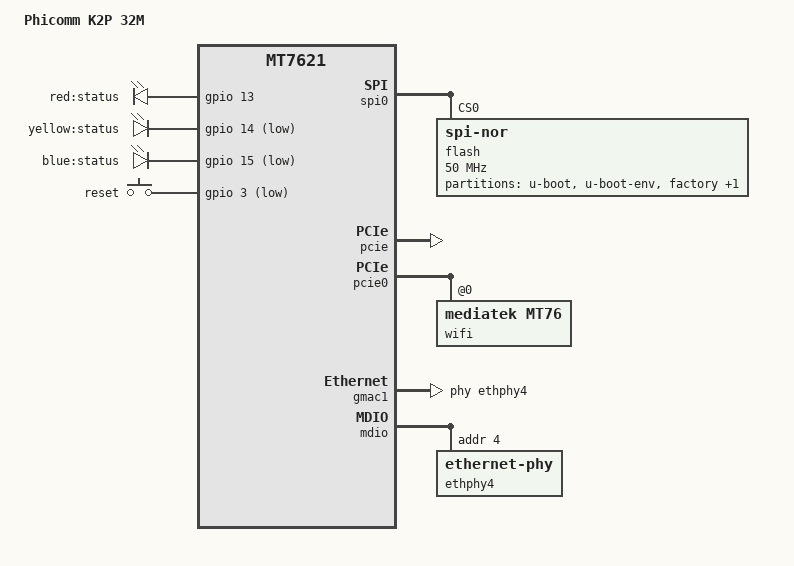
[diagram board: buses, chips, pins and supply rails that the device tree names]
#include "mt7621.dtsi"

#include <dt-bindings/gpio/gpio.h>
#include <dt-bindings/input/input.h>

/*
 * Phicomm K2P — 32MB SPI-NOR variant
 *
 * 派生自 immortalwrt openwrt-23.05 的 target/linux/ramips/dts/mt7621_phicomm_k2p.dts，
 * 仅调整固件分区（其余硬件定义完全一致）：
 *   - 删掉原厂的 permanent_config（0x50000-0xa0000），固件分区前移到 0x50000，
 *     与 Breed / 常见 MT7621 布局一致（firmware 紧跟 factory 之后）；
 *   - 固件分区扩展到整片 32MB 的剩余空间。
 *
 *   0x000000 - 0x030000  u-boot      (read-only)
 *   0x030000 - 0x040000  u-boot-env  (read-only)
 *   0x040000 - 0x050000  factory     (read-only)
 *   0x050000 - 0x2000000 firmware    (0x1fb0000 = 32448 KiB)
 */
/ {
	compatible = "phicomm,k2p-32m", "mediatek,mt7621-soc";
	model = "Phicomm K2P 32M";

	aliases {
		led-boot = &led_blue;
		led-failsafe = &led_blue;
		led-running = &led_blue;
		led-upgrade = &led_blue;
	};

	leds {
		compatible = "gpio-leds";

		stat_r {
			label = "red:status";
			gpios = <&gpio 13 GPIO_ACTIVE_HIGH>;
		};

		stat_y {
			label = "yellow:status";
			gpios = <&gpio 14 GPIO_ACTIVE_LOW>;
		};

		led_blue: stat_b {
			label = "blue:status";
			gpios = <&gpio 15 GPIO_ACTIVE_LOW>;
		};
	};

	keys {
		compatible = "gpio-keys";

		reset {
			label = "reset";
			gpios = <&gpio 3 GPIO_ACTIVE_LOW>;
			linux,code = <KEY_RESTART>;
		};
	};
};

&spi0 {
	status = "okay";

	flash@0 {
		compatible = "jedec,spi-nor";
		reg = <0>;
		spi-max-frequency = <50000000>;

		partitions {
			compatible = "fixed-partitions";
			#address-cells = <1>;
			#size-cells = <1>;

			partition@0 {
				label = "u-boot";
				reg = <0x0 0x30000>;
				read-only;
			};

			partition@30000 {
				label = "u-boot-env";
				reg = <0x30000 0x10000>;
				read-only;
			};

			factory: partition@40000 {
				label = "factory";
				reg = <0x40000 0x10000>;
				read-only;
			};

			partition@50000 {
				compatible = "denx,uimage";
				label = "firmware";
				reg = <0x50000 0x1fb0000>;
			};
		};
	};
};

&pcie {
	status = "okay";
};

&pcie0 {
	wifi@0,0 {
		compatible = "mediatek,mt76";
		reg = <0x0000 0 0 0 0>;
		mediatek,mtd-eeprom = <&factory 0x0>;

		/* 5 GHz (phy1) does not take the address from calibration data,
		   but setting it manually here works */
		nvmem-cells = <&macaddr_factory_4>;
		nvmem-cell-names = "mac-address";
	};
};

&gmac0 {
	nvmem-cells = <&macaddr_factory_e000>;
	nvmem-cell-names = "mac-address";
};

&gmac1 {
	status = "okay";
	label = "wan";
	phy-handle = <&ethphy4>;

	nvmem-cells = <&macaddr_factory_e006>;
	nvmem-cell-names = "mac-address";
};

&mdio {
	ethphy4: ethernet-phy@4 {
		reg = <4>;
	};
};

&switch0 {
	ports {
		port@0 {
			status = "okay";
			label = "lan1";
		};

		port@1 {
			status = "okay";
			label = "lan2";
		};

		port@2 {
			status = "okay";
			label = "lan3";
		};

		port@3 {
			status = "okay";
			label = "lan4";
		};
	};
};

&state_default {
	gpio {
		groups = "i2c", "jtag";
		function = "gpio";
	};
};

&factory {
	compatible = "nvmem-cells";
	#address-cells = <1>;
	#size-cells = <1>;

	macaddr_factory_4: macaddr@4 {
		reg = <0x4 0x6>;
	};

	macaddr_factory_e000: macaddr@e000 {
		reg = <0xe000 0x6>;
	};

	macaddr_factory_e006: macaddr@e006 {
		reg = <0xe006 0x6>;
	};
};
